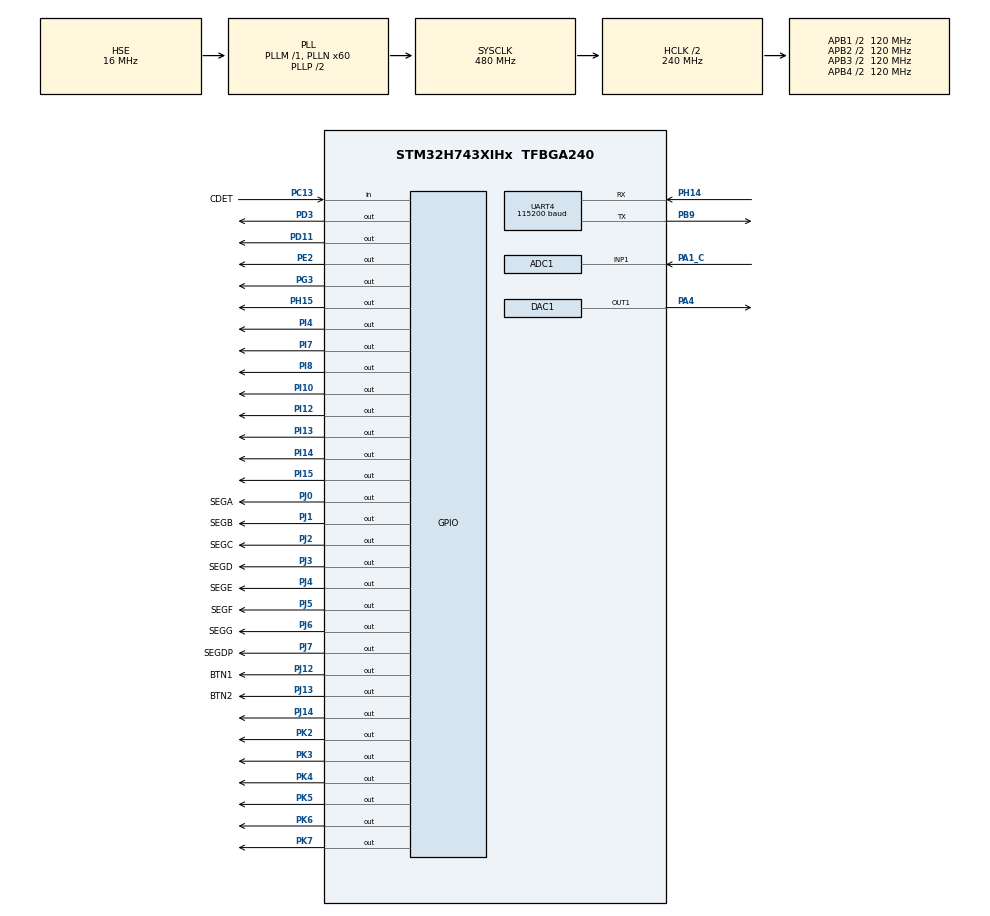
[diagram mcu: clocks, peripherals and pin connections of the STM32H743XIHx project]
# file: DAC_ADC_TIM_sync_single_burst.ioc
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ADC1.Channel-1\#ChannelRegularConversion=ADC_CHANNEL_1
ADC1.ConversionDataManagement=ADC_CONVERSIONDATA_DMA_ONESHOT
ADC1.ExternalTrigConv=ADC_EXTERNALTRIG_T1_TRGO
ADC1.NbrOfConversionFlag=1
ADC1.OffsetNumber-1\#ChannelRegularConversion=ADC_OFFSET_NONE
ADC1.Rank-1\#ChannelRegularConversion=1
ADC1.SamplingTime-1\#ChannelRegularConversion=ADC_SAMPLETIME_1CYCLE_5
ADC1.master=1
CORTEX_M7.CPU_DCache=Disabled
CORTEX_M7.CPU_ICache=Disabled
CORTEX_M7.MPU_Control=__NULL
DAC1.DAC_Trigger-DAC_OUT1_ExtAndInt=DAC_TRIGGER_T1_TRGO
Dma.ADC1.1.Direction=DMA_PERIPH_TO_MEMORY
Dma.ADC1.1.EventEnable=DISABLE
Dma.ADC1.1.FIFOMode=DMA_FIFOMODE_DISABLE
Dma.ADC1.1.Instance=DMA1_Stream4
Dma.ADC1.1.MemDataAlignment=DMA_MDATAALIGN_WORD
Dma.ADC1.1.MemInc=DMA_MINC_ENABLE
Dma.ADC1.1.Mode=DMA_NORMAL
Dma.ADC1.1.PeriphDataAlignment=DMA_PDATAALIGN_WORD
Dma.ADC1.1.PeriphInc=DMA_PINC_DISABLE
Dma.ADC1.1.Polarity=HAL_DMAMUX_REQ_GEN_RISING
Dma.ADC1.1.Priority=DMA_PRIORITY_LOW
Dma.ADC1.1.RequestNumber=1
Dma.ADC1.1.SignalID=NONE
Dma.ADC1.1.SyncEnable=DISABLE
Dma.ADC1.1.SyncPolarity=HAL_DMAMUX_SYNC_NO_EVENT
Dma.ADC1.1.SyncRequestNumber=1
Dma.ADC1.1.SyncSignalID=NONE
Dma.DAC1_CH1.0.Direction=DMA_MEMORY_TO_PERIPH
Dma.DAC1_CH1.0.EventEnable=DISABLE
Dma.DAC1_CH1.0.FIFOMode=DMA_FIFOMODE_DISABLE
Dma.DAC1_CH1.0.Instance=DMA1_Stream2
Dma.DAC1_CH1.0.MemDataAlignment=DMA_MDATAALIGN_WORD
Dma.DAC1_CH1.0.MemInc=DMA_MINC_ENABLE
Dma.DAC1_CH1.0.Mode=DMA_NORMAL
Dma.DAC1_CH1.0.PeriphDataAlignment=DMA_PDATAALIGN_WORD
Dma.DAC1_CH1.0.PeriphInc=DMA_PINC_DISABLE
Dma.DAC1_CH1.0.Polarity=HAL_DMAMUX_REQ_GEN_RISING
Dma.DAC1_CH1.0.Priority=DMA_PRIORITY_LOW
Dma.DAC1_CH1.0.RequestNumber=1
Dma.DAC1_CH1.0.SignalID=NONE
Dma.DAC1_CH1.0.SyncEnable=DISABLE
Dma.DAC1_CH1.0.SyncPolarity=HAL_DMAMUX_SYNC_NO_EVENT
Dma.DAC1_CH1.0.SyncRequestNumber=1
Dma.DAC1_CH1.0.SyncSignalID=NONE
Dma.Request0=DAC1_CH1
Dma.Request1=ADC1
Mcu.Family=STM32H7
Mcu.Name=STM32H743XIHx
Mcu.Package=TFBGA240
NVIC.ADC_IRQn=true\:0\:0\:false\:false\:true\:true\:true
NVIC.DMA1_Stream2_IRQn=true\:0\:0\:false\:false\:true\:false\:true
NVIC.DMA1_Stream4_IRQn=true\:0\:0\:false\:false\:true\:false\:true
NVIC.PriorityGroup=NVIC_PRIORITYGROUP_4
NVIC.TIM1_UP_IRQn=true\:0\:0\:false\:false\:true\:true\:true
PA0_C.Signal=ADCx_INN1
PA13\ (JTMS/SWDIO).Mode=JTAG_5_pins
PA13\ (JTMS/SWDIO).Signal=DEBUG_JTMS-SWDIO
PA14\ (JTCK/SWCLK).Mode=JTAG_5_pins
PA14\ (JTCK/SWCLK).Signal=DEBUG_JTCK-SWCLK
PA15\ (JTDI).Mode=JTAG_5_pins
PA15\ (JTDI).Signal=DEBUG_JTDI
PA1_C.Signal=ADCx_INP1
PA4.Signal=COMP_DAC11_group
PB3\ (JTDO/TRACESWO).Mode=JTAG_5_pins
PB3\ (JTDO/TRACESWO).Signal=DEBUG_JTDO-SWO
PB4\ (NJTRST).Mode=JTAG_5_pins
PB4\ (NJTRST).Signal=DEBUG_JTRST
PB9.Mode=Asynchronous
PB9.Signal=UART4_TX
PC13.GPIO_Label=CDET
PC13.GPIO_PuPd=GPIO_PULLUP
PC13.Signal=GPIO_Input
PC14-OSC32_IN\ (OSC32_IN).Mode=LSE-External-Oscillator
PC14-OSC32_IN\ (OSC32_IN).Signal=RCC_OSC32_IN
PC15-OSC32_OUT\ (OSC32_OUT).Mode=LSE-External-Oscillator
PC15-OSC32_OUT\ (OSC32_OUT).Signal=RCC_OSC32_OUT
PD11.Signal=GPIO_Output
PD3.Signal=GPIO_Output
PD7.Signal=SPI1_MOSI
PE2.Signal=GPIO_Output
PG3.Signal=GPIO_Output
PH0-OSC_IN\ (PH0).Mode=HSE-External-Oscillator
PH0-OSC_IN\ (PH0).Signal=RCC_OSC_IN
PH1-OSC_OUT\ (PH1).Mode=HSE-External-Oscillator
PH1-OSC_OUT\ (PH1).Signal=RCC_OSC_OUT
PH14.Mode=Asynchronous
PH14.Signal=UART4_RX
PH15.Signal=GPIO_Output
PI10.Signal=GPIO_Output
PI12.Signal=GPIO_Output
PI13.Signal=GPIO_Output
PI14.Signal=GPIO_Output
PI15.Signal=GPIO_Output
PI4.Signal=GPIO_Output
PI7.Signal=GPIO_Output
PI8.Signal=GPIO_Output
PJ0.GPIO_Label=SEGA
PJ0.Signal=GPIO_Output
PJ1.GPIO_Label=SEGB
PJ1.Signal=GPIO_Output
PJ12.GPIO_Label=BTN1
PJ12.Signal=GPIO_Output
PJ13.GPIO_Label=BTN2
PJ13.Signal=GPIO_Output
PJ14.Signal=GPIO_Output
PJ2.GPIO_Label=SEGC
PJ2.Signal=GPIO_Output
PJ3.GPIO_Label=SEGD
PJ3.Signal=GPIO_Output
PJ4.GPIO_Label=SEGE
PJ4.Signal=GPIO_Output
PJ5.GPIO_Label=SEGF
PJ5.Signal=GPIO_Output
PJ6.GPIO_Label=SEGG
PJ6.Signal=GPIO_Output
PJ7.GPIO_Label=SEGDP
PJ7.Signal=GPIO_Output
PK2.Signal=GPIO_Output
PK3.Signal=GPIO_Output
PK4.Signal=GPIO_Output
PK5.Signal=GPIO_Output
PK6.Signal=GPIO_Output
PK7.Signal=GPIO_Output
ProjectManager.HeapSize=0x200
ProjectManager.StackSize=0x400
ProjectManager.TargetToolchain=Makefile
RCC.ADCFreq_Value=150000000
RCC.APB1Freq_Value=120000000
RCC.APB2Freq_Value=120000000
RCC.APB3Freq_Value=120000000
RCC.APB4Freq_Value=120000000
RCC.CortexFreq_Value=480000000
RCC.D1PPRE=RCC_APB3_DIV2
RCC.D2PPRE1=RCC_APB1_DIV2
RCC.D2PPRE2=RCC_APB2_DIV2
RCC.D3PPRE=RCC_APB4_DIV2
RCC.DIVM1=1
RCC.DIVM2=1
RCC.DIVN1=60
RCC.DIVN2=9
RCC.DIVP2=1
RCC.HCLKFreq_Value=240000000
RCC.HPRE=RCC_HCLK_DIV2
RCC.HSE_VALUE=16000000
RCC.PLL2FRACN=3072
RCC.PLLFRACN=0
RCC.PLLSourceVirtual=RCC_PLLSOURCE_HSE
RCC.SYSCLKFreq_VALUE=480000000
RCC.SYSCLKSource=RCC_SYSCLKSOURCE_PLLCLK
RCC.USBCLockSelection=RCC_USBCLKSOURCE_HSI48
RCC.USBFreq_Value=48000000
SH.ADCx_INN1.0=ADC2_INN1
SH.ADCx_INN1.1=ADC1_INN1
SH.ADCx_INP1.0=ADC2_INP1
SH.ADCx_INP1.1=ADC1_INP1,IN1-Single-Ended
SH.COMP_DAC11_group.0=DAC1_OUT1,DAC_OUT1_ExtAndInt
TIM1.Period=10-1
TIM1.Prescaler=600-1
TIM1.TIM_MasterOutputTrigger=TIM_TRGO_UPDATE
UART4.BaudRate=115200
VP_TIM1_VS_ClockSourceINT.Mode=Internal
board=custom

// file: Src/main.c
/* USER CODE BEGIN Header */
/**
  ******************************************************************************
  * @file           : main.c
  * @brief          : Main program body
  ******************************************************************************
  * @attention
  *
  * <h2><center>&copy; Copyright (c) 2020 STMicroelectronics.
  * All rights reserved.</center></h2>
  *
  * This software component is licensed by ST under BSD 3-Clause license,
  * the "License"; You may not use this file except in compliance with the
  * License. You may obtain a copy of the License at:
  *                        opensource.org/licenses/BSD-3-Clause
  *
  ******************************************************************************
  */
/* USER CODE END Header */

#include "main.h"
#include "adc.h"
#include "dac.h"
#include "dma.h"
#include "tim.h"
#include "usart.h"
#include "gpio.h"

/* USER CODE BEGIN Includes */
#include "tim_hal.h"
#include "internal_dac.h"
#include "internal_adc.h"
/* USER CODE END Includes */

void SystemClock_Config(void);

int main(void)
{

  /* MCU Configuration--------------------------------------------------------*/

  /* Reset of all peripherals, Initializes the Flash interface and the Systick. */
  HAL_Init();

  /* Configure the system clock */
  SystemClock_Config();

  /* Initialize all configured peripherals */
  MX_GPIO_Init();
  MX_DMA_Init();
  MX_ADC1_Init();
  MX_DAC1_Init();
  MX_UART4_Init();
  MX_TIM1_Init();
  /* USER CODE BEGIN 2 */

  // device structures for timer, dac, and adc
  // need to be initialized later!
  struct tim_dev_s tim_dev;
  struct int_dac_dev_s dac_dev;
  struct int_adc_dev_s adc_dev;

  // initialize devices structures for timer, dac, and adc
  // note that adc and dac use the same timer for their conversion clock -> synchronous sampling
  tim_dev_init(&tim_dev, &htim1);  // "connect" timer device with a certain hardware block
  int_dac_dev_init(&dac_dev, &tim_dev, &hdac1);  // "connect" dac device with a timer and a certain hardware block
  int_adc_dev_init(&adc_dev, &tim_dev, &hadc1);  // "connect" adc device with a timer and a certain hardware block

  float_t floatval;  // temp variable
  dac_dev.set_nsamp(&dac_dev, 1000); // must be smaller than INT_DAC_MAX_BUFFER_LENGTH and INT_ADC_MAX_BUFFER_LENGTH
  adc_dev.set_nsamp(&adc_dev, dac_dev.nsamp);  // dac and adc use the same number of samples
  tim_dev.set_freq(&tim_dev, 1e6);  // set sampling frequency

  for(uint16_t cnt=0; cnt<dac_dev.nsamp; cnt++)
  {
    floatval = (0.5+0.5*cos(10*2*M_PI*(cnt)/(dac_dev.nsamp)));  //do not forget dc-offset
    // fill dac-buffer sample by sample using "set_sample"
    // if initialized memory already is available: use "fill_buf" which is more efficient then
    dac_dev.set_sample(&dac_dev, (uint16_t)(3000*floatval), cnt);
  }
  /* USER CODE END 2 */

  /* Infinite loop */
  /* USER CODE BEGIN WHILE */
  while (1)
  {
    dac_dev.arm(&dac_dev);
    adc_dev.arm(&adc_dev);
    tim_dev.start(&tim_dev);
    while(!adc_dev.data_avail); //wait for end of conversion (other tasks could be performed in the meantime)
    tim_dev.stop(&tim_dev); //conversion done -> stop timer
    HAL_UART_Transmit(&huart4, (uint8_t *) adc_dev.get_data(&adc_dev), 4*adc_dev.nsamp, HAL_MAX_DELAY);
    /* USER CODE END WHILE */

  }
}

void SystemClock_Config(void)
{
  RCC_OscInitTypeDef RCC_OscInitStruct = {0};
  RCC_ClkInitTypeDef RCC_ClkInitStruct = {0};
  RCC_PeriphCLKInitTypeDef PeriphClkInitStruct = {0};

  /** Supply configuration update enable
  */
  HAL_PWREx_ConfigSupply(PWR_LDO_SUPPLY);
  /** Configure the main internal regulator output voltage
  */
  __HAL_PWR_VOLTAGESCALING_CONFIG(PWR_REGULATOR_VOLTAGE_SCALE0);

  while(!__HAL_PWR_GET_FLAG(PWR_FLAG_VOSRDY)) {}
  /** Macro to configure the PLL clock source
  */
  __HAL_RCC_PLL_PLLSOURCE_CONFIG(RCC_PLLSOURCE_HSE);
  /** Initializes the CPU, AHB and APB busses clocks
  */
  RCC_OscInitStruct.OscillatorType = RCC_OSCILLATORTYPE_HSE;
  RCC_OscInitStruct.HSEState = RCC_HSE_ON;
  RCC_OscInitStruct.PLL.PLLState = RCC_PLL_ON;
  RCC_OscInitStruct.PLL.PLLSource = RCC_PLLSOURCE_HSE;
  RCC_OscInitStruct.PLL.PLLM = 1;
  RCC_OscInitStruct.PLL.PLLN = 60;
  RCC_OscInitStruct.PLL.PLLP = 2;
  RCC_OscInitStruct.PLL.PLLQ = 2;
  RCC_OscInitStruct.PLL.PLLR = 2;
  RCC_OscInitStruct.PLL.PLLRGE = RCC_PLL1VCIRANGE_3;
  RCC_OscInitStruct.PLL.PLLVCOSEL = RCC_PLL1VCOWIDE;
  RCC_OscInitStruct.PLL.PLLFRACN = 0;
  if (HAL_RCC_OscConfig(&RCC_OscInitStruct) != HAL_OK)
  {
    Error_Handler();
  }
  /** Initializes the CPU, AHB and APB busses clocks
  */
  RCC_ClkInitStruct.ClockType = RCC_CLOCKTYPE_HCLK|RCC_CLOCKTYPE_SYSCLK
                              |RCC_CLOCKTYPE_PCLK1|RCC_CLOCKTYPE_PCLK2
                              |RCC_CLOCKTYPE_D3PCLK1|RCC_CLOCKTYPE_D1PCLK1;
  RCC_ClkInitStruct.SYSCLKSource = RCC_SYSCLKSOURCE_PLLCLK;
  RCC_ClkInitStruct.SYSCLKDivider = RCC_SYSCLK_DIV1;
  RCC_ClkInitStruct.AHBCLKDivider = RCC_HCLK_DIV2;
  RCC_ClkInitStruct.APB3CLKDivider = RCC_APB3_DIV2;
  RCC_ClkInitStruct.APB1CLKDivider = RCC_APB1_DIV2;
  RCC_ClkInitStruct.APB2CLKDivider = RCC_APB2_DIV2;
  RCC_ClkInitStruct.APB4CLKDivider = RCC_APB4_DIV2;

  if (HAL_RCC_ClockConfig(&RCC_ClkInitStruct, FLASH_LATENCY_4) != HAL_OK)
  {
    Error_Handler();
  }
  PeriphClkInitStruct.PeriphClockSelection = RCC_PERIPHCLK_UART4|RCC_PERIPHCLK_ADC;
  PeriphClkInitStruct.PLL2.PLL2M = 1;
  PeriphClkInitStruct.PLL2.PLL2N = 9;
  PeriphClkInitStruct.PLL2.PLL2P = 1;
  PeriphClkInitStruct.PLL2.PLL2Q = 2;
  PeriphClkInitStruct.PLL2.PLL2R = 2;
  PeriphClkInitStruct.PLL2.PLL2RGE = RCC_PLL2VCIRANGE_3;
  PeriphClkInitStruct.PLL2.PLL2VCOSEL = RCC_PLL2VCOMEDIUM;
  PeriphClkInitStruct.PLL2.PLL2FRACN = 3072;
  PeriphClkInitStruct.Usart234578ClockSelection = RCC_USART234578CLKSOURCE_D2PCLK1;
  PeriphClkInitStruct.AdcClockSelection = RCC_ADCCLKSOURCE_PLL2;
  if (HAL_RCCEx_PeriphCLKConfig(&PeriphClkInitStruct) != HAL_OK)
  {
    Error_Handler();
  }
}

void Error_Handler(void)
{
}

/************************ (C) COPYRIGHT STMicroelectronics *****END OF FILE****/
